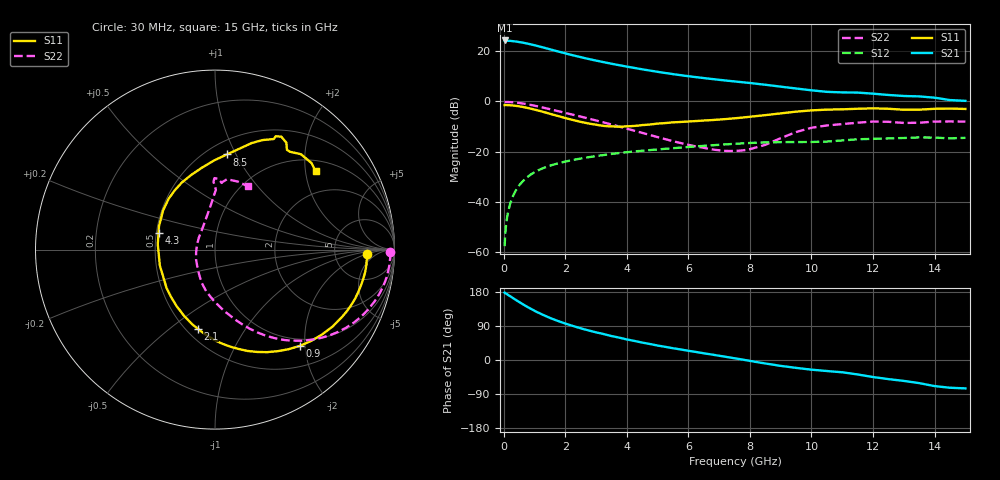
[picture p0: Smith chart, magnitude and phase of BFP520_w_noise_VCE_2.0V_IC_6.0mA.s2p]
! Infineon Technologies  Discrete & RF Semiconductors
! BFP520
! VCE =  2.0 V,  IC =  6.0 mA
! Common Emitter S-Parameters:  Oct 2015
# GHz  S  MA  R  50
!  f  S11  S21  S12  S22
! GHz  MAG  ANG  MAG  ANG  MAG  ANG  MAG  ANG
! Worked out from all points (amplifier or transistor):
!   109 points, 30 MHz to 15 GHz, reference 50 ohm
!   highest |S21| = 24.4 dB at 30 MHz (marker M1)
!   |S21| within 3 dB of that: start of sweep to 1.344 GHz
!   unconditionally stable (mu >= 1): 3.991 GHz to end of sweep
!   at 450 MHz: K = 0.16, MSG = 29.1 dB, |S12| = -34.4 dB
!   at 4 GHz: K = 1.00, MAG = 16.9 dB, |S12| = -20.2 dB
!   at 15 GHz: K = 1.36, MAG = 3.8 dB, |S12| = -14.5 dB
!   lowest NFmin = 1.26 dB at 900 MHz
!   S11 on the Smith chart (normalised r, x): 30 MHz: 12, -2; 900 MHz: 0.86, -1.90; 2.1 GHz: 0.57, -0.63; 4.3 GHz: 0.51, +0.10; 8.5 GHz: 0.62, +0.92; 15 GHz: 1.30, +2.28
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0.03  0.8473 -1.6  16.5 177.8  0.0013 70.8  0.9746 -0.9
0.05  0.8504 -2.9  16.36 176.2  0.0023 81.1  0.9763 -1.6
0.14  0.8462 -7.9  16.3 171.9  0.0061 83.2  0.9754 -5.0
0.3  0.8319 -16.9  15.97 163.5  0.0129 80.2  0.9635 -10.9
0.45  0.8103 -25.2  15.54 155.7  0.0191 76.7  0.9434 -16.3
0.7  0.7611 -38.5  14.59 143.4  0.0287 70.9  0.8952 -24.8
0.9  0.715 -48.6  13.71 134.4  0.0356 66.3  0.8493 -30.9
1.2  0.6407 -63.1  12.33 122.0  0.0446 60.5  0.7753 -39.1
1.5  0.5687 -76.7  11.02 111.2  0.0523 55.6  0.7026 -46.3
1.8  0.5066 -89.8  9.826 101.9  0.0591 51.6  0.6346 -52.5
2.1  0.4506 -102.4  8.81 93.7  0.0652 48.0  0.5733 -57.9
2.6  0.3812 -124.0  7.422 81.4  0.0746 43.0  0.4825 -66.2
3  0.3449 -141.4  6.548 72.9  0.0816 39.4  0.418 -72.6
3.5  0.3199 -163.9  5.673 63.2  0.0899 35.0  0.348 -81.2
4.3  0.3274 163.9  4.608 49.5  0.1015 28.2  0.2557 -97.2
5.1  0.3654 140.8  3.826 36.8  0.1118 22.2  0.1877 -115.0
6  0.3998 123.9  3.197 24.3  0.1238 15.7  0.137 -136.0
7.6  0.4681 97.3  2.477 3.2  0.1442 2.9  0.1039 162.2
8.5  0.5343 82.9  2.156 -9.2  0.1528 -5.3  0.1366 121.0
10.5  0.6885 63.2  1.558 -29.1  0.1588 -17.9  0.333 89.2
13  0.6853 54.2  1.287 -55.2  0.1872 -37.3  0.3733 84.3
15  0.7102 37.8  1.029 -74.9  0.1885 -52.7  0.3975 62.9
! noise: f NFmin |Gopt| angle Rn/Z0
0.45  1.29  0.43  2  0.31
0.9  1.26  0.42  9  0.32
1.9  1.48  0.36  20  0.28
2.4  1.51  0.32  32  0.27
3.5  1.45  0.29  55  0.26
